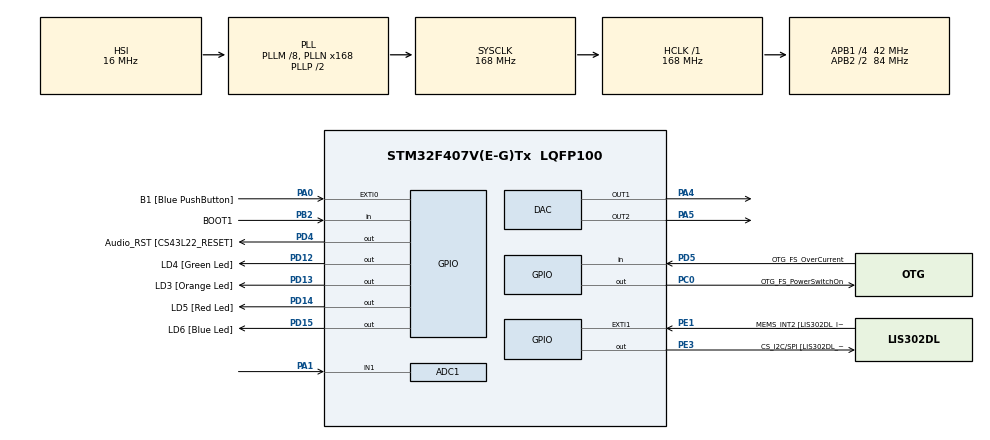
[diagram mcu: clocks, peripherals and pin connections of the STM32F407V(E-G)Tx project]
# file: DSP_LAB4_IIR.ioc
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ADC1.Channel-0\#ChannelRegularConversion=ADC_CHANNEL_1
ADC1.ClockPrescaler=ADC_CLOCK_SYNC_PCLK_DIV4
ADC1.ExternalTrigConv=ADC_EXTERNALTRIGCONV_T2_TRGO
ADC1.NbrOfConversionFlag=1
ADC1.Rank-0\#ChannelRegularConversion=1
ADC1.SamplingTime-0\#ChannelRegularConversion=ADC_SAMPLETIME_3CYCLES
ADC1.master=1
DAC.DAC_Trigger=DAC_TRIGGER_T2_TRGO
DAC.DAC_Trigger2=DAC_TRIGGER_T2_TRGO
Mcu.Family=STM32F4
Mcu.Name=STM32F407V(E-G)Tx
Mcu.Package=LQFP100
NVIC.PriorityGroup=NVIC_PRIORITYGROUP_0
NVIC.TIM2_IRQn=true\:0\:0\:false\:false\:true\:true\:true\:true
NVIC.TIM6_DAC_IRQn=true\:0\:0\:false\:false\:true\:true\:true\:true
PA0-WKUP.GPIO_Label=B1 [Blue PushButton]
PA0-WKUP.Signal=GPXTI0
PA1.Signal=ADCx_IN1
PA10.GPIO_Label=OTG_FS_ID
PA10.GPIO_Mode=GPIO_MODE_AF_PP
PA10.GPIO_PuPd=GPIO_NOPULL
PA10.GPIO_Speed=GPIO_SPEED_FREQ_LOW
PA10.Signal=USB_OTG_FS_ID
PA11.GPIO_Label=OTG_FS_DM
PA11.GPIO_Mode=GPIO_MODE_AF_PP
PA11.GPIO_PuPd=GPIO_NOPULL
PA11.GPIO_Speed=GPIO_SPEED_FREQ_LOW
PA11.Signal=USB_OTG_FS_DM
PA12.GPIO_Label=OTG_FS_DP
PA12.GPIO_Mode=GPIO_MODE_AF_PP
PA12.GPIO_PuPd=GPIO_NOPULL
PA12.GPIO_Speed=GPIO_SPEED_FREQ_LOW
PA12.Signal=USB_OTG_FS_DP
PA13.GPIO_Label=SWDIO
PA13.Signal=SYS_JTMS-SWDIO
PA14.GPIO_Label=SWCLK
PA14.Signal=SYS_JTCK-SWCLK
PA4.Signal=COMP_DAC1_group
PA5.Signal=COMP_DAC2_group
PA6.GPIO_Label=SPI1_MISO [LIS302DL_SDO]
PA6.GPIO_Mode=GPIO_MODE_AF_PP
PA6.GPIO_PuPd=GPIO_NOPULL
PA6.GPIO_Speed=GPIO_SPEED_FREQ_LOW
PA6.Signal=SPI1_MISO
PA7.GPIO_Label=SPI1_MOSI [LIS302DL_SDA/SDI/SDO]
PA7.GPIO_Mode=GPIO_MODE_AF_PP
PA7.GPIO_PuPd=GPIO_NOPULL
PA7.GPIO_Speed=GPIO_SPEED_FREQ_LOW
PA7.Signal=SPI1_MOSI
PA9.GPIO_Label=VBUS_FS
PA9.GPIO_Mode=GPIO_MODE_INPUT
PA9.GPIO_PuPd=GPIO_NOPULL
PA9.Signal=USB_OTG_FS_VBUS
PB10.GPIO_Label=CLK_IN [MP45DT02_CLK]
PB10.GPIO_Mode=GPIO_MODE_AF_PP
PB10.GPIO_PuPd=GPIO_NOPULL
PB10.GPIO_Speed=GPIO_SPEED_FREQ_LOW
PB10.Signal=I2S2_CK
PB2.GPIO_Label=BOOT1
PB2.GPIO_Mode=GPIO_MODE_INPUT
PB2.GPIO_PuPd=GPIO_NOPULL
PB2.Signal=GPIO_Input
PB3.GPIO_Label=SWO
PB3.Signal=SYS_JTDO-SWO
PB6.GPIO_Label=Audio_SCL [CS43L22_SCL]
PB6.GPIO_Mode=GPIO_MODE_AF_OD
PB6.GPIO_PuPd=GPIO_NOPULL
PB6.GPIO_Speed=GPIO_SPEED_FREQ_LOW
PB6.Signal=I2C1_SCL
PB9.GPIO_Label=Audio_SDA [CS43L22_SDA]
PB9.GPIO_Mode=GPIO_MODE_AF_OD
PB9.GPIO_PuPd=GPIO_NOPULL
PB9.GPIO_Speed=GPIO_SPEED_FREQ_LOW
PB9.Signal=I2C1_SDA
PC0.GPIO_Label=OTG_FS_PowerSwitchOn
PC0.GPIO_PuPd=GPIO_NOPULL
PC0.GPIO_Speed=GPIO_SPEED_FREQ_LOW
PC0.PinState=GPIO_PIN_SET
PC0.Signal=GPIO_Output
PC10.GPIO_Label=I2S3_SCK [CS43L22_SCLK]
PC10.GPIO_Mode=GPIO_MODE_AF_PP
PC10.GPIO_PuPd=GPIO_NOPULL
PC10.GPIO_Speed=GPIO_SPEED_FREQ_LOW
PC10.Signal=I2S3_CK
PC12.GPIO_Label=I2S3_SD [CS43L22_SDIN]
PC12.GPIO_Mode=GPIO_MODE_AF_PP
PC12.GPIO_PuPd=GPIO_NOPULL
PC12.GPIO_Speed=GPIO_SPEED_FREQ_LOW
PC12.Signal=I2S3_SD
PC14-OSC32_IN.GPIO_Label=PC14-OSC32_IN
PC14-OSC32_IN.Signal=RCC_OSC32_IN
PC15-OSC32_OUT.GPIO_Label=PC15-OSC32_OUT
PC15-OSC32_OUT.Signal=RCC_OSC32_OUT
PC3.GPIO_Label=PDM_OUT [MP45DT02_DOUT]
PC3.GPIO_Mode=GPIO_MODE_AF_PP
PC3.GPIO_PuPd=GPIO_NOPULL
PC3.GPIO_Speed=GPIO_SPEED_FREQ_LOW
PC3.Signal=I2S2_SD
PC7.GPIO_Label=I2S3_MCK [CS43L22_MCLK]
PC7.GPIO_Mode=GPIO_MODE_AF_PP
PC7.GPIO_PuPd=GPIO_NOPULL
PC7.GPIO_Speed=GPIO_SPEED_FREQ_LOW
PC7.Signal=I2S3_MCK
PD12.GPIO_Label=LD4 [Green Led]
PD12.GPIO_PuPd=GPIO_NOPULL
PD12.GPIO_Speed=GPIO_SPEED_FREQ_LOW
PD12.Signal=GPIO_Output
PD13.GPIO_Label=LD3 [Orange Led]
PD13.GPIO_PuPd=GPIO_NOPULL
PD13.GPIO_Speed=GPIO_SPEED_FREQ_LOW
PD13.Signal=GPIO_Output
PD14.GPIO_Label=LD5 [Red Led]
PD14.GPIO_PuPd=GPIO_NOPULL
PD14.GPIO_Speed=GPIO_SPEED_FREQ_LOW
PD14.Signal=GPIO_Output
PD15.GPIO_Label=LD6 [Blue Led]
PD15.GPIO_PuPd=GPIO_NOPULL
PD15.GPIO_Speed=GPIO_SPEED_FREQ_LOW
PD15.Signal=GPIO_Output
PD4.GPIO_Label=Audio_RST [CS43L22_RESET]
PD4.GPIO_PuPd=GPIO_NOPULL
PD4.GPIO_Speed=GPIO_SPEED_FREQ_LOW
PD4.Signal=GPIO_Output
PD5.GPIO_Label=OTG_FS_OverCurrent
PD5.GPIO_Mode=GPIO_MODE_INPUT
PD5.GPIO_PuPd=GPIO_NOPULL
PD5.Signal=GPIO_Input
PE1.GPIO_Label=MEMS_INT2 [LIS302DL_INT2]
PE1.GPIO_ModeDefaultEXTI=GPIO_MODE_EVT_RISING
PE1.GPIO_PuPd=GPIO_NOPULL
PE1.Signal=GPXTI1
PE3.GPIO_Label=CS_I2C/SPI [LIS302DL_CS_I2C/SPI]
PE3.GPIO_PuPd=GPIO_NOPULL
PE3.GPIO_Speed=GPIO_SPEED_FREQ_LOW
PE3.Signal=GPIO_Output
PH0-OSC_IN.GPIO_Label=PH0-OSC_IN
PH0-OSC_IN.Signal=RCC_OSC_IN
PH1-OSC_OUT.GPIO_Label=PH1-OSC_OUT
PH1-OSC_OUT.Signal=RCC_OSC_OUT
ProjectManager.HeapSize=0x200
ProjectManager.StackSize=0x400
ProjectManager.TargetToolchain=STM32CubeIDE
RCC.48MHZClocksFreq_Value=48000000
RCC.AHBFreq_Value=168000000
RCC.APB1CLKDivider=RCC_HCLK_DIV4
RCC.APB1Freq_Value=42000000
RCC.APB1TimFreq_Value=84000000
RCC.APB2CLKDivider=RCC_HCLK_DIV2
RCC.APB2Freq_Value=84000000
RCC.APB2TimFreq_Value=168000000
RCC.CortexFreq_Value=168000000
RCC.HCLKFreq_Value=168000000
RCC.HSE_VALUE=8000000
RCC.HSI_VALUE=16000000
RCC.LSE_VALUE=32768
RCC.PLLM=8
RCC.PLLN=168
RCC.PLLQ=7
RCC.SYSCLKFreq_VALUE=168000000
RCC.SYSCLKSource=RCC_SYSCLKSOURCE_PLLCLK
RCC.VCOOutputFreq_Value=336000000
SH.ADCx_IN1.0=ADC1_IN1,IN1
SH.COMP_DAC1_group.0=DAC_OUT1,DAC_OUT1
SH.COMP_DAC2_group.0=DAC_OUT2,DAC_OUT2
TIM2.AutoReloadPreload=TIM_AUTORELOAD_PRELOAD_DISABLE
TIM2.Period=9
TIM2.Prescaler=83
TIM2.TIM_MasterOutputTrigger=TIM_TRGO_UPDATE
VP_TIM2_VS_ClockSourceINT.Mode=Internal
board=STM32F407G-DISC1

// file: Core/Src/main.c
/* USER CODE BEGIN Header */
/**
  ******************************************************************************
  * @file           : main.c
  * @brief          : Main program body
  ******************************************************************************
  * @attention
  *
  * Copyright (c) 2022 STMicroelectronics.
  * All rights reserved.
  *
  * This software is licensed under terms that can be found in the LICENSE file
  * in the root directory of this software component.
  * If no LICENSE file comes with this software, it is provided AS-IS.
  *
  ******************************************************************************
  */
/* USER CODE END Header */
#include "main.h"
#include "adc.h"
#include "dac.h"
#include "tim.h"
#include "gpio.h"

void SystemClock_Config(void);

/* USER CODE BEGIN 0 */
#define BUFFER_SIZE 1024
#define F_SAMPLE 100000
float phaseStep = 0;
#define OFFSET 32768

#define FILTER_SIZE 6
float zeros_filter[FILTER_SIZE] = {1,5,10,10,5,1};
float poles_filter[FILTER_SIZE] = { 0.12543062216,
		-0.88113007544,
		 2.5452528683,
		-3.8060181193,
		 2.9754221097,
		-1.0};

float historic_input_vector[FILTER_SIZE-1] = {0, 0, 0, 0, 0};
float historic_output_vector[FILTER_SIZE-1] = {0, 0, 0, 0, 0};
float DAC_Array[BUFFER_SIZE];
float IIR_Array[BUFFER_SIZE];
int DAC_index = 0;

void IIRfilter()
{
	float sum = DAC_Array[DAC_index]*zeros_filter[0];
	for (int i=0; i<FILTER_SIZE-1 ; i++)
	{
		sum += historic_input_vector[i]*zeros_filter[i+1];
	}
    sum *= poles_filter[0];

	for (int i=0; i<FILTER_SIZE-1 ; i++)
	{
		sum += historic_output_vector[i]*poles_filter[i+1];
	}
	IIR_Array[DAC_index] = sum;
}

void update_historical()
{
	for (int i = FILTER_SIZE-2 ; i>0 ; i--)
	{
		historic_input_vector[i] = historic_input_vector[i-1];
	}
    historic_input_vector[0] = DAC_Array[DAC_index];

	for (int i = FILTER_SIZE-2 ; i>0 ; i--)
	{
		historic_output_vector[i] = historic_output_vector[i-1];
	}
    historic_output_vector[0] = IIR_Array[DAC_index];
}

#define GAIN   4.673737587e+004
static float xv[FILTER_SIZE], yv[FILTER_SIZE];

void HAL_TIM_PeriodElapsedCallback(TIM_HandleTypeDef* htim)
{
//	uint32_t adc = HAL_ADC_GetValue(&hadc1);
	DAC_Array[DAC_index] = HAL_ADC_GetValue(&hadc1);
//    update_historical();
//    IIRfilter();

//    xv[0] = xv[1]; xv[1] = xv[2]; xv[2] = xv[3]; xv[3] = xv[4]; xv[4] = xv[5];
//	xv[5] = DAC_Array[DAC_index] / (float)GAIN;
//	yv[0] = yv[1]; yv[1] = yv[2]; yv[2] = yv[3]; yv[3] = yv[4]; yv[4] = yv[5];
//	yv[5] =   (xv[0] + xv[5]) + 5 * (xv[1] + xv[4]) + 10 * (xv[2] + xv[3])
//			   + (  0.1254306222 * yv[0]) + ( -0.8811300754 * yv[1])
//			   + (  2.5452528683 * yv[2]) + ( -3.8060181193 * yv[3])
//			   + (  2.9754221097 * yv[4]);
//	IIR_Array[DAC_index] = yv[5];

    xv[0] = xv[1]; xv[1] = xv[2]; xv[2] = xv[3]; xv[3] = xv[4]; xv[4] = xv[5];
	xv[5] = DAC_Array[DAC_index] / (float)GAIN;
	yv[0] = yv[1]; yv[1] = yv[2]; yv[2] = yv[3]; yv[3] = yv[4]; yv[4] = yv[5];
    yv[5] =   (xv[0] + xv[5]) + 5 * (xv[1] + xv[4]) + 10 * (xv[2] + xv[3])
                 + (  0.4422091824 * yv[0]) + ( -2.5704293025 * yv[1])
                 + (  6.0099581482 * yv[2]) + ( -7.0697227528 * yv[3])
                 + (  4.1873000479 * yv[4]);
	IIR_Array[DAC_index] = yv[5];
	int THR = 4000;
	if(IIR_Array[DAC_index] > THR)
	{
		IIR_Array[DAC_index] = THR;
	}

    HAL_DAC_SetValue(&hdac, DAC_CHANNEL_1, DAC_ALIGN_12B_R, HAL_ADC_GetValue(&hadc1));
//    HAL_DAC_SetValue(&hdac, DAC_CHANNEL_1, DAC_ALIGN_12B_R, DAC_Array[DAC_index]);
    HAL_DAC_SetValue(&hdac, DAC_CHANNEL_2, DAC_ALIGN_12B_R, IIR_Array[DAC_index]);

//    DAC_index++;
//    if(DAC_index == BUFFER_SIZE)
//    {
//    	DAC_index=0;
//    }
}

/* USER CODE END 0 */

int main(void)
{

  /* MCU Configuration--------------------------------------------------------*/

  /* Reset of all peripherals, Initializes the Flash interface and the Systick. */
  HAL_Init();

  /* Configure the system clock */
  SystemClock_Config();

  /* Initialize all configured peripherals */
  MX_GPIO_Init();
  MX_ADC1_Init();
  MX_DAC_Init();
  MX_TIM2_Init();
  /* USER CODE BEGIN 2 */
  HAL_TIM_Base_Start_IT(&htim2) ;
  HAL_ADC_Start(&hadc1);
  HAL_DAC_Start(&hdac, DAC_CHANNEL_2);
  HAL_DAC_Start(&hdac, DAC_CHANNEL_1);
  for (int i=0 ; i<BUFFER_SIZE ; i++)
  {
	  DAC_Array[i] = 0;
	  IIR_Array[i] = 0;
  }
  /* USER CODE END 2 */

  /* Infinite loop */
  while (1)
  {

  }
}

void SystemClock_Config(void)
{
  RCC_OscInitTypeDef RCC_OscInitStruct = {0};
  RCC_ClkInitTypeDef RCC_ClkInitStruct = {0};

  /** Configure the main internal regulator output voltage
  */
  __HAL_RCC_PWR_CLK_ENABLE();
  __HAL_PWR_VOLTAGESCALING_CONFIG(PWR_REGULATOR_VOLTAGE_SCALE1);

  /** Initializes the RCC Oscillators according to the specified parameters
  * in the RCC_OscInitTypeDef structure.
  */
  RCC_OscInitStruct.OscillatorType = RCC_OSCILLATORTYPE_HSI;
  RCC_OscInitStruct.HSIState = RCC_HSI_ON;
  RCC_OscInitStruct.HSICalibrationValue = RCC_HSICALIBRATION_DEFAULT;
  RCC_OscInitStruct.PLL.PLLState = RCC_PLL_ON;
  RCC_OscInitStruct.PLL.PLLSource = RCC_PLLSOURCE_HSI;
  RCC_OscInitStruct.PLL.PLLM = 8;
  RCC_OscInitStruct.PLL.PLLN = 168;
  RCC_OscInitStruct.PLL.PLLP = RCC_PLLP_DIV2;
  RCC_OscInitStruct.PLL.PLLQ = 7;
  if (HAL_RCC_OscConfig(&RCC_OscInitStruct) != HAL_OK)
  {
    Error_Handler();
  }

  /** Initializes the CPU, AHB and APB buses clocks
  */
  RCC_ClkInitStruct.ClockType = RCC_CLOCKTYPE_HCLK|RCC_CLOCKTYPE_SYSCLK
                              |RCC_CLOCKTYPE_PCLK1|RCC_CLOCKTYPE_PCLK2;
  RCC_ClkInitStruct.SYSCLKSource = RCC_SYSCLKSOURCE_PLLCLK;
  RCC_ClkInitStruct.AHBCLKDivider = RCC_SYSCLK_DIV1;
  RCC_ClkInitStruct.APB1CLKDivider = RCC_HCLK_DIV4;
  RCC_ClkInitStruct.APB2CLKDivider = RCC_HCLK_DIV2;

  if (HAL_RCC_ClockConfig(&RCC_ClkInitStruct, FLASH_LATENCY_5) != HAL_OK)
  {
    Error_Handler();
  }
}

void Error_Handler(void)
{
  __disable_irq();
  while (1)
  {
  }
}
